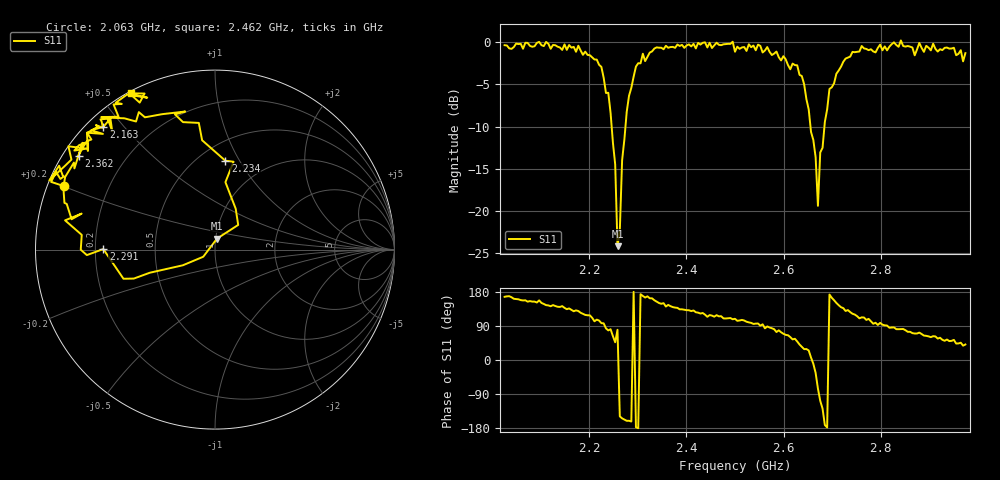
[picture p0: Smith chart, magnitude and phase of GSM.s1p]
#  HZ  S  DB  R  50.0
! Rohde & Schwarz ZVL
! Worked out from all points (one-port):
!   201 points, 2.025 GHz to 2.975 GHz, reference 50 ohm
!   lowest |S11| = -24.1 dB at 2.258 GHz (marker M1), VSWR 1.13, Z = 50.7 + j6.22 ohm
!   |S11| at or under -10 dB: 2.246 GHz to 2.274 GHz (28.51 MHz wide, 1.26 % of centre); 2.656 GHz to 2.684 GHz (28.81 MHz wide, 1.08 % of centre)
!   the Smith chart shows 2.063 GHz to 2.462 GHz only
!   S11 on the Smith chart (normalised r, x): 2.063 GHz: 0.05, +0.20; 2.163 GHz: 0.05, +0.44; 2.234 GHz: 0.66, +0.87; 2.291 GHz: 0.23, +0.00; 2.362 GHz: 0.04, +0.31; 2.462 GHz: 0.01, +0.60
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2.025e9  -0.39 166.8
2.063e9  -0.81 157.2
2.14375e9  -0.95 142.2
2.16275e9  -0.68 132.2
2.21025e9  -2.08 102.1
2.234e9  -6.04 83.4
2.253e9  -14.49 46.8
2.25775e9  -24.14 79.7
2.2625e9  -22.31 -148.7
2.26725e9  -14.00 -154.0
2.28625e9  -5.43 -162.3
2.291e9  -4.12 179.7
2.31e9  -1.40 169.0
2.36225e9  -0.70 145.4
2.38125e9  -0.32 137.6
2.443e9  -0.66 114.0
2.462e9  -0.10 118.3
2.5e9  -1.16 108.7
2.5665e9  -0.61 88.5
2.61875e9  -2.57 54.4
2.652e9  -7.99 25.1
2.671e9  -19.37 -75.7
2.67575e9  -13.07 -107.8
2.69475e9  -5.56 172.8
2.7375e9  -1.74 126.4
2.79925e9  -0.32 98.0
2.85625e9  -0.49 74.3
2.975e9  -1.33 40.9
